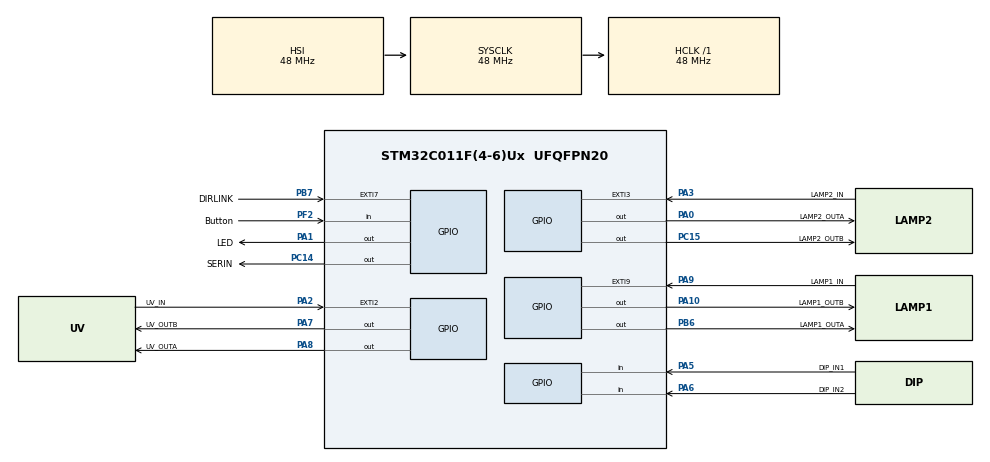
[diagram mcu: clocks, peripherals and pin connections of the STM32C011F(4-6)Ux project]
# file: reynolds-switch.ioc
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Mcu.Family=STM32C0
Mcu.Name=STM32C011F(4-6)Ux
Mcu.Package=UFQFPN20
NVIC.EXTI2_3_IRQn=true\:0\:0\:false\:false\:true\:true\:true\:true
NVIC.EXTI4_15_IRQn=true\:0\:0\:false\:false\:true\:true\:true\:true
NVIC.TIM14_IRQn=true\:0\:0\:false\:false\:true\:true\:true\:true
NVIC.TIM16_IRQn=true\:0\:0\:false\:false\:true\:true\:true\:true
NVIC.TIM17_IRQn=true\:0\:0\:false\:false\:true\:true\:true\:true
NVIC.TIM1_BRK_UP_TRG_COM_IRQn=true\:0\:0\:false\:false\:true\:true\:true\:true
NVIC.TIM1_CC_IRQn=true\:0\:0\:false\:false\:true\:true\:true\:true
PA0.GPIO_Label=LAMP2_OUTA
PA0.Signal=GPIO_Output
PA1.GPIO_Label=LED
PA1.Signal=GPIO_Output
PA10\ [PA12].GPIO_Label=LAMP1_OUTB
PA10\ [PA12].Signal=GPIO_Output
PA13.Mode=Serial_Wire
PA13.Signal=DEBUG_SWDIO
PA14-BOOT0.Mode=Serial_Wire
PA14-BOOT0.Signal=DEBUG_SWCLK
PA2.GPIO_Label=UV_IN
PA2.GPIO_ModeDefaultEXTI=GPIO_MODE_IT_FALLING
PA2.Signal=GPXTI2
PA3.GPIO_Label=LAMP2_IN
PA3.GPIO_ModeDefaultEXTI=GPIO_MODE_IT_RISING_FALLING
PA3.Signal=GPXTI3
PA5.GPIO_Label=DIP_IN1
PA5.Signal=GPIO_Input
PA6.GPIO_Label=DIP_IN2
PA6.Signal=GPIO_Input
PA7.GPIO_Label=UV_OUTB
PA7.Signal=GPIO_Output
PA8.GPIO_Label=UV_OUTA
PA8.Signal=GPIO_Output
PA9\ [PA11].GPIO_Label=LAMP1_IN
PA9\ [PA11].GPIO_ModeDefaultEXTI=GPIO_MODE_IT_RISING_FALLING
PA9\ [PA11].Signal=GPXTI9
PB6.GPIO_Label=LAMP1_OUTA
PB6.Signal=GPIO_Output
PB7.GPIO_Label=DIRLINK
PB7.Signal=GPXTI7
PC14-OSCX_IN\ (PC14).GPIO_FMPC14=SYSCFG_FASTMODEPLUS_PC14
PC14-OSCX_IN\ (PC14).GPIO_Label=SERIN
PC14-OSCX_IN\ (PC14).GPIO_PuPd=GPIO_NOPULL
PC14-OSCX_IN\ (PC14).Signal=GPIO_Output
PC15-OSCX_OUT\ (PC15).GPIO_Label=LAMP2_OUTB
PC15-OSCX_OUT\ (PC15).Signal=GPIO_Output
PF2-NRST.GPIO_Label=Button
PF2-NRST.Signal=GPIO_Input
ProjectManager.HeapSize=0x200
ProjectManager.StackSize=0x400
ProjectManager.TargetToolchain=STM32CubeIDE
RCC.ADCFreq_Value=48000000
RCC.AHBFreq_Value=48000000
RCC.CortexFreq_Value=48000000
RCC.EXTERNAL_CLOCK_VALUE=12288000
RCC.HCLKFreq_Value=48000000
RCC.HSE_VALUE=8000000
RCC.HSISYSCLKDivider=RCC_HSI_DIV1
RCC.HSI_VALUE=48000000
RCC.LSE_VALUE=32768
RCC.SYSCLKFreq_VALUE=48000000
TIM1.Period=1000
TIM1.Prescaler=48-1
TIM1.TIM_MasterOutputTrigger=TIM_TRGO_OC1REF
TIM14.Period=145
TIM14.Prescaler=48-1
TIM16.Period=1000
TIM16.Prescaler=48-1
TIM17.Period=130
TIM17.Prescaler=48-1
TIM3.Channel-Output\ Compare1\ No\ Output=TIM_CHANNEL_1
TIM3.Prescaler=47
TIM3.Pulse-Output\ Compare1\ No\ Output=130
VP_SYS_VS_PINREMAP.Mode=PINREMAP
VP_SYS_VS_PINREMAP_10_12.Mode=PINREMAP_10_12
VP_TIM14_VS_ClockSourceINT.Mode=Enable_Timer
VP_TIM16_VS_ClockSourceINT.Mode=Enable_Timer
VP_TIM17_VS_ClockSourceINT.Mode=Enable_Timer
VP_TIM1_VS_ClockSourceINT.Mode=Internal
VP_TIM3_VS_ClockSourceITR.Mode=TriggerSource_ITR1
VP_TIM3_VS_OPM.Mode=OPM_bit
VP_TIM3_VS_no_output1.Mode=Output Compare1 No Output
board=STM32C0116-DK

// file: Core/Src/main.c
/* USER CODE BEGIN Header */
/**
  ******************************************************************************
  * @file           : main.c
  * @brief          : Main program body
  ******************************************************************************
  * @attention
  *
  * Copyright (c) 2024 STMicroelectronics.
  * All rights reserved.
  *
  * This software is licensed under terms that can be found in the LICENSE file
  * in the root directory of this software component.
  * If no LICENSE file comes with this software, it is provided AS-IS.
  *
  ******************************************************************************
  */
/* USER CODE END Header */
#include "main.h"
#include "tim.h"
#include "gpio.h"

/* USER CODE BEGIN Includes */
#include <stdint.h>

#define DEBUG_REYNOLDS

//#define LIGHT_AS_ACTUATOR
//#define DEBUG_UART_REYNOLDS

#ifdef DEBUG_UART_REYNOLDS
#include <stdio.h>
#endif //DEBUG_UART_REYNOLDS

#include "BoardSupport/pyd15X8.h"
#include "BoardSupport/button.h"
#include "BoardSupport/lights.h"
#include "BoardSupport/led_indicator.h"
#include "BoardSupport/switch_selector.h"
#include "BoardSupport/relay_l114fl_drv8210.h"

#include "Middleware/deadline_timer.h"
#include "Middleware/output_ctrl.h"
#include "Middleware/NuTone.h"

#include "Application/nutone_app.h"

#include "Application/motion_lights_driver.h"
#include "app.h"

/* USER CODE END Includes */

/* USER CODE BEGIN PM */

//CONFIGURE THE BASIC MOTION PARAMETERS HERE:<---------------------------------------------------------------------------|

//#define TEST_TIMEOUT

/******************************************************************************/
/******************************************************************************/
/***************************CONFIG SECTION 1***********************************/
/******************************************************************************/
/******************************************************************************/
#define DEBUG_MEMORY//<<----This is inverted, if you want to enable all the modes available UNCOMMENT THIS (LOGIC NAME IS WRONG)

#define PRODUCTION_PARAM //<<---------Comment for fast tests

#ifndef PRODUCTION_PARAM//Time parameters for the app
#define 	FAST_TEST
#endif //FAST_TEST

//You can only activate one sensitivity level
#define MOTION_SENSITIVITY_MEDIUM

#ifndef MOTION_SENSITIVITY_MEDIUM
#define MOTION_SENSITIVITY_LOW
#ifndef 	MOTION_SENSITIVITY_LOW
#define MOTION_SENSITIVITY_HIGH
#endif 		//MOTION_SENSITIVITY_LOW
#endif //MOTION_SENSITIVITY_MEDIUM

#define MINUTES_2_MILI_SECONDS	60000
#define HOURS_2_MILI_SECONDS	60 * MINUTES_2_MILI_SECONDS

#ifdef PRODUCTION_PARAM
//Office Mode:
//-------------------------------------------------
#ifdef MOTION_SENSITIVITY_LOW
#define OFFICE_MOTION_SENSOR_DETECTION_THRESHOLD		4		//!< Range 0-255 (0 more sensitive -255 less sensitive)
const pyd1598_pulse_counter_t OFFICE_MOTION_PULSE_COUNTER = PYD1598_PC_3_PULSES;
const pyd1598_window_time_t OFFICE_MOTION_SENSOR_WINDOW = PYD1598_WT_8_SEC;
#endif	//MOTION_SENSITIVITY_LOW

#ifdef MOTION_SENSITIVITY_MEDIUM
#define OFFICE_MOTION_SENSOR_DETECTION_THRESHOLD		7		//!< Range 0-255 (0 more sensitive -255 less sensitive)
const pyd1598_pulse_counter_t OFFICE_MOTION_PULSE_COUNTER = PYD1598_PC_2_PULSES;
const pyd1598_window_time_t OFFICE_MOTION_SENSOR_WINDOW = PYD1598_WT_6_SEC;
#endif	//MOTION_SENSITIVITY_MEDIUM

#ifdef MOTION_SENSITIVITY_HIGH
#define OFFICE_MOTION_SENSOR_DETECTION_THRESHOLD		3		//!< Range 0-255 (0 more sensitive -255 less sensitive)
const pyd1598_pulse_counter_t OFFICE_MOTION_PULSE_COUNTER = PYD1598_PC_3_PULSES;
const pyd1598_window_time_t OFFICE_MOTION_SENSOR_WINDOW = PYD1598_WT_4_SEC;
#endif	//MOTION_SENSITIVITY_HIGH

#define OFFICE_LAMP1_ON_TIME_MS				10 * MINUTES_2_MILI_SECONDS	//!<Waiting period of Lamp 1 illumination in milisec
#define OFFICE_LAMP2_ON_TIME_MS				10 * MINUTES_2_MILI_SECONDS 	//!<Waiting period of Lamp 2 illumination in milisec
#define OFFICE_LAMP_UV_SAFETY_TIME_MS		900 	//!<Waiting period before turning on UV light in milisec
#define OFFICE_LAMP_UV_ON_TIME_MS			20 * MINUTES_2_MILI_SECONDS	//!<Waiting period of Lamp UV illumination in milisec
#ifdef TEST_TIMEOUT
#define OFFICE_LAMP_UV_TIMEOUT_MS			30000
#else	//TEST_TIMEOUT
#define OFFICE_LAMP_UV_TIMEOUT_MS			10000						//!<Waiting period for timeout. If motion is detected and UV button had been pressed finishes process automatically.
#endif	//TEST_TIMEOUT

//Residential mode:
//-------------------------------------------------
#ifdef MOTION_SENSITIVITY_LOW
#define RESIDENTIAL_MOTION_SENSOR_DETECTION_THRESHOLD	4		//!< Range 0-255 (0 more sensitive -255 less sensitive)
const pyd1598_pulse_counter_t OFFICE_MOTION_PULSE_COUNTER = PYD1598_PC_3_PULSES;
const pyd1598_window_time_t RESIDENTIAL_MOTION_SENSOR_WINDOW = PYD1598_WT_8_SEC;
#endif	//MOTION_SENSITIVITY_LOW

#ifdef MOTION_SENSITIVITY_MEDIUM
#define RESIDENTIAL_MOTION_SENSOR_DETECTION_THRESHOLD	7		//!< Range 0-255 (0 more sensitive -255 less sensitive)
const pyd1598_pulse_counter_t RESIDENTIAL_MOTION_PULSE_COUNTER = PYD1598_PC_2_PULSES;
const pyd1598_window_time_t RESIDENTIAL_MOTION_SENSOR_WINDOW = PYD1598_WT_6_SEC;
#endif	//MOTION_SENSITIVITY_MEDIUM

#ifdef MOTION_SENSITIVITY_HIGH
#define RESIDENTIAL_MOTION_SENSOR_DETECTION_THRESHOLD	3		//!< Range 0-255 (0 more sensitive -255 less sensitive)
const pyd1598_pulse_counter_t OFFICE_MOTION_PULSE_COUNTER = PYD1598_PC_3_PULSES;
const pyd1598_window_time_t RESIDENTIAL_MOTION_SENSOR_WINDOW = PYD1598_WT_4_SEC;
#endif	//MOTION_SENSITIVITY_HIGH

#define RESIDENTIAL_LAMP1_ON_TIME_MS		10 * MINUTES_2_MILI_SECONDS 	//!<Waiting period of Lamp 1 illumination in milisec
#define RESIDENTIAL_LAMP2_ON_TIME_MS		0							//!<Waiting period of Lamp 2 illumination in milisec
#define RESIDENTIAL_LAMP_UV_SAFETY_TIME_MS	900 	//!<Waiting period before turning on UV light in milisec
#define RESIDENTIAL_LAMP_UV_ON_TIME_MS		3 * HOURS_2_MILI_SECONDS 	//!<Waiting period of Lamp UV illumination in milisec
#ifdef TEST_TIMEOUT
#define RESIDENTIAL_LAMP_UV_TIMEOUT_MS		30000
#else	//TEST_TIMEOUT
#define RESIDENTIAL_LAMP_UV_TIMEOUT_MS		10000						//!<Waiting period for timeout. If motion is detected and UV button had been pressed finishes process automatically.
#endif	//TEST_TIMEOUT

//Broan NuTone SurfaceShield mode:
//-------------------------------------------------
#ifdef MOTION_SENSITIVITY_LOW
#define SURFACESHIELD_MOTION_SENSOR_DETECTION_THRESHOLD	4		//!< Range 0-255 (0 more sensitive -255 less sensitive)
const pyd1598_pulse_counter_t OFFICE_MOTION_PULSE_COUNTER = PYD1598_PC_3_PULSES;
const pyd1598_window_time_t SURFACESHIELD_MOTION_SENSOR_WINDOW = PYD1598_WT_8_SEC;
#endif	//MOTION_SENSITIVITY_LOW

#ifdef MOTION_SENSITIVITY_MEDIUM
#define SURFACESHIELD_MOTION_SENSOR_DETECTION_THRESHOLD	7		//!< Range 0-255 (0 more sensitive -255 less sensitive)
const pyd1598_pulse_counter_t SURFACESHIELD_MOTION_PULSE_COUNTER = PYD1598_PC_2_PULSES;
const pyd1598_window_time_t SURFACESHIELD_MOTION_SENSOR_WINDOW = PYD1598_WT_6_SEC;
#endif	//MOTION_SENSITIVITY_MEDIUM

#ifdef MOTION_SENSITIVITY_HIGH
#define SURFACESHIELD_MOTION_SENSOR_DETECTION_THRESHOLD	3		//!< Range 0-255 (0 more sensitive -255 less sensitive)
const pyd1598_pulse_counter_t OFFICE_MOTION_PULSE_COUNTER = PYD1598_PC_3_PULSES;
const pyd1598_window_time_t SURFACESHIELD_MOTION_SENSOR_WINDOW = PYD1598_WT_4_SEC;
#endif	//MOTION_SENSITIVITY_HIGH

#define SURFACESHIELD_LAMP1_ON_TIME_MS		10 * MINUTES_2_MILI_SECONDS 	//!<Waiting period of Lamp 1 illumination in milisec
#define SURFACESHIELD_LAMP2_ON_TIME_MS		0							//!<Waiting period of Lamp 2 illumination in milisec
#define SURFACESHIELD_LAMP_UV_SAFETY_TIME_MS	900 	//!<Waiting period before turning on UV light in milisec
#define SURFACESHIELD_LAMP_UV_ON_TIME_MS		3 * HOURS_2_MILI_SECONDS 	//!<Waiting period of Lamp UV illumination in milisec

#define SURFACESHIELD_LAMP_UV_TIMEOUT_MS		10000	//!<Waiting period for timeout. If motion is detected and UV button had been pressed finishes process automatically.

#endif //FAST_TEST

#ifdef FAST_TEST

//Office Mode:
#define OFFICE_MOTION_SENSOR_DETECTION_THRESHOLD		20		//!< Range 0-255 (0 more sensitive -255 less sensitive)
const pyd1598_pulse_counter_t OFFICE_MOTION_PULSE_COUNTER = PYD1598_PC_3_PULSES;
const pyd1598_window_time_t OFFICE_MOTION_SENSOR_WINDOW = PYD1598_WT_2_SEC;

#define OFFICE_LAMP1_ON_TIME_MS				1 * MINUTES_2_MILI_SECONDS	//!<Waiting period of Lamp 1 illumination in milisec
#define OFFICE_LAMP2_ON_TIME_MS				1 * MINUTES_2_MILI_SECONDS 	//!<Waiting period of Lamp 2 illumination in milisec
#define OFFICE_LAMP_UV_SAFETY_TIME_MS		900 	//!<Waiting period before turning on UV light in milisec
#define OFFICE_LAMP_UV_ON_TIME_MS			2 * MINUTES_2_MILI_SECONDS	//!<Waiting period of Lamp UV illumination in milisec
#ifdef TEST_TIMEOUT
#define OFFICE_LAMP_UV_TIMEOUT_MS			30000
#else	//TEST_TIMEOUT
#define OFFICE_LAMP_UV_TIMEOUT_MS			10000						//!<Waiting period for timeout. If motion is detected and UV button had been pressed finishes process automatically.
#endif	//TEST_TIMEOUT

//Residential mode:
#define RESIDENTIAL_MOTION_SENSOR_DETECTION_THRESHOLD	20		//!< Range 0-255 (0 more sensitive -255 less sensitive)
const pyd1598_pulse_counter_t OFFICE_MOTION_PULSE_COUNTER = PYD1598_PC_3_PULSES;
const pyd1598_window_time_t RESIDENTIAL_MOTION_SENSOR_WINDOW = PYD1598_WT_8_SEC;

#define RESIDENTIAL_LAMP1_ON_TIME_MS		10000//1 * MINUTES_2_MILI_SECONDS 	//!<Waiting period of Lamp 1 illumination in milisec
#define RESIDENTIAL_LAMP2_ON_TIME_MS		0							//!<Waiting period of Lamp 2 illumination in milisec
#define RESIDENTIAL_LAMP_UV_SAFETY_TIME_MS	900 	//!<Waiting period before turning on UV light in milisec
#define RESIDENTIAL_LAMP_UV_ON_TIME_MS		10000//3 * MINUTES_2_MILI_SECONDS 	//!<Waiting period of Lamp UV illumination in milisec
#ifdef TEST_TIMEOUT
#define RESIDENTIAL_LAMP_UV_TIMEOUT_MS		30000
#else	//TEST_TIMEOUT
#define RESIDENTIAL_LAMP_UV_TIMEOUT_MS		5000						//!<Waiting period for timeout. If motion is detected and UV button had been pressed finishes process automatically.
#endif	//TEST_TIMEOUT

//Broan NuTone SurfaceShield mode:
//-------------------------------------------------
#define SURFACESHIELD_MOTION_SENSOR_DETECTION_THRESHOLD	20		//!< Range 0-255 (0 more sensitive -255 less sensitive)
const pyd1598_pulse_counter_t OFFICE_MOTION_PULSE_COUNTER = PYD1598_PC_3_PULSES;
const pyd1598_window_time_t SURFACESHIELD_MOTION_SENSOR_WINDOW = PYD1598_WT_8_SEC;

#define SURFACESHIELD_LAMP1_ON_TIME_MS		10000 	//!<Waiting period of Lamp 1 illumination in milisec
#define SURFACESHIELD_LAMP2_ON_TIME_MS		0							//!<Waiting period of Lamp 2 illumination in milisec
#define SURFACESHIELD_LAMP_UV_SAFETY_TIME_MS	900 	//!<Waiting period before turning on UV light in milisec
#define SURFACESHIELD_LAMP_UV_ON_TIME_MS		10000 	//!<Waiting period of Lamp UV illumination in milisec
#define SURFACESHIELD_LAMP_UV_TIMEOUT_MS		5000						//!<Waiting period for timeout. If motion is detected and UV button had been pressed finishes process automatically.

#endif //FAST_TEST

/******************************************************************************/
/******************************************************************************/
/***************************CONFIG SECTION ENDS********************************/
/******************************************************************************/
/******************************************************************************/

/* USER CODE END PM */

/* USER CODE BEGIN PV */
extern TIM_HandleTypeDef htim1;
extern TIM_HandleTypeDef htim14;
extern TIM_HandleTypeDef htim17;

#ifdef DEBUG_UART_REYNOLDS
extern UART_HandleTypeDef huart1;
extern UART_HandleTypeDef huart2;
#endif //DEBUG_UART_REYNOLDS

#ifdef DEBUG_REYNOLDS
uint8_t myflag = 0;
#endif //DEBUG_REYNOLDS

/* USER CODE END PV */

void SystemClock_Config(void);
/* USER CODE BEGIN PFP */
/******************************************************************************/

#ifdef DEBUG_UART_REYNOLDS
//Adding printf
#define PUTCHAR_PROTOTYPE int __io_putchar(int ch)
#endif //DEBUG_UART_REYNOLDS

/****************************PYD 1598 routines*********************************/

//App routines:
void motion_light_control_fsm(relay_t *light,
								button_t *button,
								pyd1598_sensor_t *motion_sensor,
								deadline_timer_t *deadline_timer,
								motion_light_state_t *fsm_state,
								motion_sensed_t *motion_sensed);
void motion_light_uv_control_fsm(relay_t *light_uv,
									button_t *button_uv,
									pyd1598_sensor_t *motion_sensor,
									deadline_timer_t *deadline_timer,
									deadline_timer_t *deadline_safe_timer,
									motion_light_uv_state_t *fsm_state,
									motion_sensed_t *motion_sensed,
									motion_light_uv_abort_t *uv_abort,
									led_signal_t *signal);
void motion_uv_ctrl_wait_fsm(relay_t *light_uv,
								button_t *button_uv,
								pyd1598_sensor_t *motion_sensor,
								deadline_timer_t *deadline_timer,
								deadline_timer_t *deadline_safe_timer,
								deadline_timer_t *deadline_timeout,
								deadline_timer_t *deadline_wait_timeout,
								motion_light_uv_state_t *fsm_state,
								motion_sensed_t *motion_sensed,
								motion_light_uv_abort_t *uv_abort,
								motion_uv_wait_signal_t wait,
								led_signal_t *signal);

void direct_light_control_fsm(relay_t *light,
								button_t *button,
								deadline_timer_t *deadline_timer,
								motion_light_no_motion_state_t *fsm_state);

void events_detection(pyd1598_sensor_t *motion,
							deadline_timer_t *deadline_events,
							button_t *button_lamp_1, button_t *button_lamp_2,
							button_t *button_lamp_uv,
							motion_sensed_t *motion_light_1,
							motion_sensed_t *motion_light_2,
							motion_sensed_t *motion_uv,
							motion_light_uv_abort_t *abort_signal_uv);

void events_detection_motion_in_one_lamp(pyd1598_sensor_t *motion,
							deadline_timer_t *deadline_events,
							button_t *button_lamp_1,
							button_t *button_lamp_2,
							button_t *button_lamp_uv,
							motion_sensed_t *motion_light_1,
							motion_sensed_t *motion_uv,
							motion_light_uv_abort_t *abort_signal_uv);

void events_detection_uv_waits(pyd1598_sensor_t *motion,
							deadline_timer_t *deadline_events,
							button_t *button_lamp_1, button_t *button_lamp_2,
							button_t *button_lamp_uv,
							motion_sensed_t *motion_light_1,
							motion_sensed_t *motion_light_2,
							motion_sensed_t *motion_uv,
							motion_light_uv_abort_t *abort_signal_uv);

void discreate_actuator(light_t *actuator, deadline_timer_t *deadline_timer);

void sense_button_event(deadline_timer_t *deadline_events, button_t *button);

/******************************************************************************/
/* USER CODE END PFP */

/* USER CODE BEGIN 0 */
/******************************************************************************/

#ifdef DEBUG_REYNOLDS

#endif //DEBUG_REYNOLDS

//TODO: (low) Change to main process
//Testing upper layer:

//Motion Sensor declarations
pyd1598_sensor_t motion_sensor;
pyd1598_config_t motion_initial_conf;

//General Clock
timer_clock_t deadline;

//Lights declarations
deadline_timer_t deadline_timer_light_1;
deadline_timer_t deadline_timer_light_2;
deadline_timer_t deadline_timer_uv;

//General Clock
timer_clock_t general_clock;

//Buttons declarations
deadline_timer_t deadline_buttons;
timer_clock_t timer_buttons;//Change this to main
button_t button_light_1;
button_t button_light_2;
button_t button_uv;

motion_sensed_t motion_sensed_light_1;
motion_sensed_t motion_sensed_light_2;
motion_sensed_t motion_sensed_uv;

//LED indicator
deadline_timer_t deadline_led_indicator;//TODO: (High) deprecate this variable

//Application declarations
deadline_timer_t deadline_motion_light_1;
timer_clock_t timer_motion_light_1;//Change this to main
motion_light_state_t light_1_state;//Change this to main

deadline_timer_t deadline_motion_light_2;
timer_clock_t timer_motion_light_2;//Change this to main
motion_light_state_t light_2_state;//Change this to main
motion_light_no_motion_state_t light_2_no_motion_state;//Change this to main

//UV motion timers
deadline_timer_t deadline_motion_uv;
timer_clock_t timer_motion_uv;//Change this to main

deadline_timer_t deadline_motion_uv_safe;
timer_clock_t timer_motion_uv_safe;//Change this to main

deadline_timer_t deadline_motion_uv_timeout;//Change this to main
timer_clock_t timer_motion_uv_timeout;

deadline_timer_t deadline_uv_wait_timeout;//Change this to main
timer_clock_t timer_uv_wait_timeout;

motion_light_uv_state_t uv_state;//Change this to main

motion_light_uv_abort_t abort_uv = MOTION_ABORT_FALSE;
motion_uv_wait_signal_t wait = MOTION_UV_WAIT_FALSE;

//NuTone timers
deadline_timer_t ctrl_timer;
deadline_timer_t vyv_timeoff;
nutone_app_t nutone_app_hand;

/******************************************************************************/
/* USER CODE END 0 */

int main(void)
{

  /* MCU Configuration--------------------------------------------------------*/

  /* Reset of all peripherals, Initializes the Flash interface and the Systick. */
  HAL_Init();

  /* Configure the system clock */
  SystemClock_Config();

  /* Initialize all configured peripherals */
  MX_GPIO_Init();
  MX_TIM1_Init();
  MX_TIM14_Init();
  MX_TIM3_Init();
  MX_TIM17_Init();
  MX_TIM16_Init();
  /* USER CODE BEGIN 2 */
  /**************************************************************************/
  general_clock.counts = 0;
  general_clock.msec = 0;

  //Configure PYD 159:
//  HAL_DIRECT_LINK_conf_as_interrupt_input();

  //DIP SWITCH SETUP
  //----------------------------------------------------------------------------
  switch_selector_t switch_selector;
  switch_selector_gpio_t switch_selector_gpio[2];//We can use malloc also
  switch_selector_gpio[0].port = DIP_IN1_GPIO_Port;
  switch_selector_gpio[0].pin = DIP_IN1_Pin;
  switch_selector_gpio[1].port = DIP_IN2_GPIO_Port;
  switch_selector_gpio[1].pin = DIP_IN2_Pin;

  switch_selector_setup(&switch_selector, switch_selector_gpio, 2);

  //MOTION SENSOR SETUP
  //----------------------------------------------------------------------------

  switch(switch_selector.value)
  {
#ifdef DEBUG_MEMORY
	case MOTION_SWITCH_MODE_0:
		motion_initial_conf.threshold = OFFICE_MOTION_SENSOR_DETECTION_THRESHOLD;
		motion_initial_conf.window_time = OFFICE_MOTION_SENSOR_WINDOW;
		motion_initial_conf.pulse_counter = OFFICE_MOTION_PULSE_COUNTER;

	  break;
	case MOTION_SWITCH_MODE_1:
		motion_initial_conf.threshold = RESIDENTIAL_MOTION_SENSOR_DETECTION_THRESHOLD;
		motion_initial_conf.window_time = RESIDENTIAL_MOTION_SENSOR_WINDOW;;
		motion_initial_conf.pulse_counter = RESIDENTIAL_MOTION_PULSE_COUNTER;
	  break;
	case MOTION_SWITCH_MODE_2:
		motion_initial_conf.threshold = RESIDENTIAL_MOTION_SENSOR_DETECTION_THRESHOLD;
		motion_initial_conf.window_time = RESIDENTIAL_MOTION_SENSOR_WINDOW;;
		motion_initial_conf.pulse_counter = RESIDENTIAL_MOTION_PULSE_COUNTER;
		break;
#endif //DEBUG_MEMORY
	case MOTION_SWITCH_MODE_3:
		motion_initial_conf.threshold = SURFACESHIELD_MOTION_SENSOR_DETECTION_THRESHOLD;
		motion_initial_conf.window_time =SURFACESHIELD_MOTION_SENSOR_WINDOW;;
		motion_initial_conf.pulse_counter = SURFACESHIELD_MOTION_PULSE_COUNTER;
		break;
	default:
		//do nothing
		__NOP();
	  break;
  }

  //Good initial conf.
  motion_initial_conf.blind_time = PYD1598_BT_0_5_SEC;
  motion_initial_conf.count_mode = PYD1598_COUNT_MODE_NO_BPF_SIGN_CHANGE;
  motion_initial_conf.hpf_cutoff = PYD1598_HPF_0_2HZ;
  motion_initial_conf.op_mode = PYD1598_WAKE_UP;
  motion_initial_conf.signal_source = PYD1598_SOURCE_PIR_BFP;

  //Hardware assignation:
  pyd1598_hardware_interface_t setin_pin;
  pyd1598_hardware_interface_t direct_link_pin;

  setin_pin.pin = SERIN_Pin;
  setin_pin.port = SERIN_GPIO_Port;
  setin_pin.irq_type = EXTI4_15_IRQn;
  direct_link_pin.pin = DIRLINK_Pin;
  direct_link_pin.port = DIRLINK_GPIO_Port;
  direct_link_pin.irq_type = EXTI4_15_IRQn;

  pyd1598_setup(&motion_sensor, motion_initial_conf, setin_pin, direct_link_pin);

//  pyd1598_serin_set_zero_pulse(setin_pin);
  HAL_Delay(1000);

  pyd1598_request_write(&motion_sensor);

  //LIGHTS SETUP
  //----------------------------------------------------------------------------

  relay_t light_1;
  relay_t light_2;
  relay_t light_uv;

  deadline.msec = 80;
  deadline_timer_setup(&deadline_timer_light_1, deadline);
  deadline_timer_setup(&deadline_timer_light_2, deadline);
  deadline_timer_setup(&deadline_timer_uv, deadline);

  //Hardware assignation:

  relay_gpio_t light_1_output_a;
  relay_gpio_t light_1_output_b;
  relay_gpio_t light_2_output_a;
  relay_gpio_t light_2_output_b;
  relay_gpio_t light_uv_output_a;
  relay_gpio_t light_uv_output_b;

  light_1_output_a.pin = LAMP1_OUTA_Pin;
  light_2_output_a.pin = LAMP2_OUTA_Pin;
  light_uv_output_a.pin = UV_OUTA_Pin;
  light_1_output_b.pin = LAMP1_OUTB_Pin;
  light_2_output_b.pin = LAMP2_OUTB_Pin;
  light_uv_output_b.pin = UV_OUTB_Pin;

  light_1_output_a.port = LAMP1_OUTA_GPIO_Port;
  light_2_output_a.port = LAMP2_OUTA_GPIO_Port;
  light_uv_output_a.port = UV_OUTA_GPIO_Port;
  light_1_output_b.port = LAMP1_OUTB_GPIO_Port;
  light_2_output_b.port = LAMP2_OUTB_GPIO_Port;
  light_uv_output_b.port = UV_OUTB_GPIO_Port;

  relay_setup(&light_1, light_1_output_a, light_1_output_b);
  relay_setup(&light_2, light_2_output_a, light_2_output_b);
  relay_setup(&light_uv, light_uv_output_a, light_uv_output_b);

  //BUTTONS SETUP
  //----------------------------------------------------------------------------

  //timers config:
  timer_buttons.msec = 100;
  deadline_timer_setup(&deadline_buttons, timer_buttons);

  //Hardware assignation:
  button_gpio_t button_input;
  button_input.pin = LAMP1_IN_Pin;
  button_input.port = LAMP1_IN_GPIO_Port;
  button_setup(&button_light_1, button_input);

  button_input.pin = LAMP2_IN_Pin;
  button_input.port = LAMP2_IN_GPIO_Port;
  button_setup(&button_light_2, button_input);

  button_input.pin = UV_IN_Pin;
  button_input.port = UV_IN_GPIO_Port;
  button_setup(&button_uv, button_input);

  //SIGNAL LED SETUP
  //----------------------------------------------------------------------------
  led_signal_t signal_led;
  led_signal_gpio_t signal_led_gpio;
#ifdef DEBUG_MEMORY
  deadline_timer_expired_t indicator_timer_expired;
#endif //DEBUG_MEMORY
  signal_led_gpio.pin = LED_Pin;
  signal_led_gpio.port = LED_GPIO_Port;
  led_signal_setup(&signal_led, signal_led_gpio);
  deadline.msec = 500;
  deadline.sec = 0;

  deadline_timer_setup(&deadline_led_indicator, deadline);

  led_signal_type_selector(&signal_led, LED_SIGNAL_SOLID);

  //APPLICATION LIGHT SETUP
  //----------------------------------------------------------------------------
//TODO: (medium) create a typedef for all this

  /*
     * MOTION_SWITCH_MODE_0	=	OFFFICE
     * MOTION_SWITCH_MODE_1	=	RESIDENTIAL
     * MOTION_SWITCH_MODE_2	=
     * */
    //timers config:
    switch(switch_selector.value)
    {
#ifdef DEBUG_MEMORY
      case MOTION_SWITCH_MODE_0:
    	  timer_motion_light_1.msec = OFFICE_LAMP1_ON_TIME_MS;
    	  timer_motion_light_2.msec = OFFICE_LAMP2_ON_TIME_MS;
    	  timer_motion_uv_safe.msec = OFFICE_LAMP_UV_SAFETY_TIME_MS;
    	  timer_motion_uv.msec = OFFICE_LAMP_UV_ON_TIME_MS;
    	  timer_motion_uv_timeout.msec = OFFICE_LAMP_UV_TIMEOUT_MS;
    	  break;
      case MOTION_SWITCH_MODE_1:
    	  timer_motion_light_1.msec = RESIDENTIAL_LAMP1_ON_TIME_MS;
		  timer_motion_light_2.msec = RESIDENTIAL_LAMP2_ON_TIME_MS;
		  timer_motion_uv_safe.msec = RESIDENTIAL_LAMP_UV_SAFETY_TIME_MS;
		  timer_motion_uv.msec = RESIDENTIAL_LAMP_UV_ON_TIME_MS;
		  timer_motion_uv_timeout.msec = RESIDENTIAL_LAMP_UV_TIMEOUT_MS;
    	  break;
      case MOTION_SWITCH_MODE_2:
    	  timer_motion_light_1.msec = RESIDENTIAL_LAMP1_ON_TIME_MS;
		  timer_motion_light_2.msec = RESIDENTIAL_LAMP2_ON_TIME_MS;
		  timer_motion_uv_safe.msec = RESIDENTIAL_LAMP_UV_SAFETY_TIME_MS;
		  timer_motion_uv.msec = RESIDENTIAL_LAMP_UV_ON_TIME_MS;
		  timer_motion_uv_timeout.msec = RESIDENTIAL_LAMP_UV_TIMEOUT_MS;
    	  break;
#endif //DEBUG_MEMORY
      case MOTION_SWITCH_MODE_3:
    	  timer_motion_light_1.msec = SURFACESHIELD_LAMP1_ON_TIME_MS;
		  timer_motion_light_2.msec = SURFACESHIELD_LAMP2_ON_TIME_MS;
		  timer_motion_uv_safe.msec = SURFACESHIELD_LAMP_UV_SAFETY_TIME_MS;
		  timer_motion_uv.msec = SURFACESHIELD_LAMP_UV_ON_TIME_MS;
		  timer_motion_uv_timeout.msec = SURFACESHIELD_LAMP_UV_TIMEOUT_MS;
    	  __NOP();
    	  break;
      default:
    	  //do nothing
    	  __NOP();
    	  break;
    }

  //Light 1
  deadline_timer_setup(&deadline_motion_light_1, timer_motion_light_1);

  light_1_state = MOTION_LIGHT_IDLE;
  //Light 2
  deadline_timer_setup(&deadline_motion_light_2, timer_motion_light_1);
  light_2_state = MOTION_LIGHT_IDLE;
  //Light UV
  deadline_timer_setup(&deadline_motion_uv, timer_motion_uv);
  //Light safe UV
  deadline_timer_setup(&deadline_motion_uv_safe, timer_motion_uv_safe);
  //Light UV Timeout
  deadline_timer_setup(&deadline_motion_uv_timeout, timer_motion_uv_timeout);
  //Light UV Wait Timeout
  deadline.msec = 5000;
  deadline_timer_setup(&deadline_uv_wait_timeout, deadline);

  //MODE 2 Setup (NuTone)
  //----------------------------------------------------------------------------
  nutone_t exhaust_fan;
  //  nutone_app_t nutone_app_hand;
  button_handler_t button_fan;
  button_handler_t button_white;
  button_handler_t button_vyv;
  motion_handler_t motion_sensor_hand;
  led_signal_handler_t led_signal_hand;
  nutone_relay_handler_t lights;
  nutone_relay_handler_t fan;

  if(switch_selector.value == MOTION_SWITCH_MODE_3)
  {

	  lights.relay = &light_uv;
	  lights.deadline_timer = &deadline_timer_light_1;
	  fan.relay = &light_2;//This is not a UV relay but a simple relay
	  fan.deadline_timer = &deadline_timer_light_2;

	  nutone_setup(&exhaust_fan, &lights, &fan, &ctrl_timer, &vyv_timeoff);

	  button_white.button = &button_light_1;
	  button_white.btn_timer = &deadline_buttons;
	  button_fan.button = &button_light_2;
	  button_fan.btn_timer = &deadline_buttons;
	  button_vyv.button = &button_uv;
	  button_vyv.btn_timer = &deadline_buttons;
	  motion_sensor_hand.motion_sensor = &motion_sensor;

	  led_signal_hand.led_signal = &signal_led;
	  led_signal_hand.led_signal_timer = &deadline_led_indicator;

	  nutone_app_config(&nutone_app_hand, &exhaust_fan, &motion_sensor_hand,
			  	  	  	  	  &button_fan, &button_white, &button_vyv,
							  &led_signal_hand,
							  &deadline_motion_light_2,
							  &deadline_motion_light_1,
							  &deadline_motion_uv,
							  &deadline_motion_uv_timeout,
							  &deadline_motion_uv_safe);

	  //deenergize unused relay
	  relay_off(&light_1);
	  HAL_Delay(100);
	  relay_deenergize(&light_1);

	  //synchronization of SurfaceShield light to avoid inversion
	  led_signal_start(&signal_led);
	  signal_led.type = LED_SIGNAL_BLINK;

	  uint8_t idx = 0;
	  relay_off(lights.relay);
	  HAL_Delay(100);
	  relay_deenergize(lights.relay);
	  for(idx = 0; idx < 10; idx++)
	  {
		  HAL_Delay(1300);
		  led_signal_fsm(led_signal_hand.led_signal);
	  }
	  led_signal_stop(led_signal_hand.led_signal);

	  relay_ask_off_pulse_fsm(&light_1);

  }

  //Start Timers
  //----------------------------------------------------------------------------
	//Start interrupts:
	HAL_TIM_Base_Start_IT(&htim1);
	HAL_TIM_Base_Start_IT(&htim14);//SERIN communication timer
	HAL_TIM_Base_Start_IT(&htim16);//Used to generate a clock
	//Direct Link communication timer
	HAL_NVIC_SetPriority(TIM17_IRQn, 0, 0);
	HAL_NVIC_EnableIRQ(TIM17_IRQn);
	HAL_TIM_Base_Start_IT(&htim17);
	HAL_NVIC_SetPriority(EXTI4_15_IRQn, 0, 1);
	HAL_NVIC_EnableIRQ(EXTI4_15_IRQn);
	HAL_NVIC_SetPriority(EXTI2_3_IRQn, 3, 0);
	HAL_NVIC_EnableIRQ(EXTI2_3_IRQn);

  //Set initial states:
  //----------------------------------------------------------------------------
  relay_ask_off_pulse_fsm(&light_1);
  relay_ask_off_pulse_fsm(&light_2);
  relay_ask_off_pulse_fsm(&light_uv);

  uv_state = MOTION_LIGHT_UV_IDLE;
  abort_uv = MOTION_ABORT_FALSE;
  //Light timeout UV

  //motion switch
  motion_sensed_light_1 = MOTION_ISR_ATTENDED;
  motion_sensed_light_2 = MOTION_ISR_ATTENDED;
  motion_sensed_uv = MOTION_ISR_ATTENDED;

  led_signal_stop(&signal_led);

  /**************************************************************************/
  /* USER CODE END 2 */

  /* Infinite loop */
  while (1)
  {

    /* USER CODE BEGIN 3 */
	/**************************************************************************/

	  switch(switch_selector.value)
	  {
		  case MOTION_SWITCH_MODE_0:
#ifdef DEBUG_MEMORY
			  events_detection_uv_waits(&motion_sensor, &deadline_buttons,
								  &button_light_1, &button_light_2, &button_uv,
								  &motion_sensed_light_1, &motion_sensed_light_2,
								  &motion_sensed_uv,
								  &abort_uv);
			  motion_light_control_fsm(&light_1, &button_light_1, &motion_sensor,
									&deadline_motion_light_1, &light_1_state,
									&motion_sensed_light_1);
			  motion_light_control_fsm(&light_2, &button_light_2, &motion_sensor,
									&deadline_motion_light_2, &light_2_state,
									&motion_sensed_light_2);

			  if((light_1.relay_status == RELAY_ON) ||
				 (light_2.relay_status == RELAY_ON))
			  {
				  wait = MOTION_UV_WAIT_TRUE;
			  }
			  else
			  {
				  wait = MOTION_UV_WAIT_FALSE;
			  }

			  motion_uv_ctrl_wait_fsm(&light_uv, &button_uv, &motion_sensor,
								&deadline_motion_uv, &deadline_motion_uv_safe,
								&deadline_motion_uv_timeout,
								&deadline_uv_wait_timeout,
								&uv_state, &motion_sensed_uv, &abort_uv, wait,
								&signal_led);

			  //Actuator routines:
			  output_fsm_ctrl(&light_1, &deadline_timer_light_1);
			  output_fsm_ctrl(&light_2, &deadline_timer_light_2);
			  output_fsm_ctrl(&light_uv, &deadline_timer_uv);

			  //LED indicator
			  deadline_timer_check(&deadline_led_indicator, &indicator_timer_expired);

			  if(indicator_timer_expired == TIMER_EXPIRED_TRUE)
			  {
				  led_signal_fsm(&signal_led);
				  deadline_timer_set_initial_time(&deadline_led_indicator);
			  }
#endif //DEBUG_MEMORY

			  break;

		  case MOTION_SWITCH_MODE_1:
#ifdef DEBUG_MEMORY
			  events_detection_uv_waits(&motion_sensor, &deadline_buttons,
			  								  &button_light_1, &button_light_2, &button_uv,
			  								  &motion_sensed_light_1, &motion_sensed_light_2,
			  								  &motion_sensed_uv,
			  								  &abort_uv);

			  motion_light_control_fsm(&light_1, &button_light_1, &motion_sensor,
									&deadline_motion_light_1, &light_1_state,
									&motion_sensed_light_1);

			  direct_light_control_fsm(&light_2, &button_light_2,
												  &deadline_motion_light_2,
												  &light_2_no_motion_state);

			  if(light_1.relay_status == RELAY_ON)
			  {
				  wait = MOTION_UV_WAIT_TRUE;
			  }
			  else
			  {
				  wait = MOTION_UV_WAIT_FALSE;
			  }

			  motion_uv_ctrl_wait_fsm(&light_uv, &button_uv, &motion_sensor,
								&deadline_motion_uv, &deadline_motion_uv_safe,
								&deadline_motion_uv_timeout,
								&deadline_uv_wait_timeout,
								&uv_state, &motion_sensed_uv, &abort_uv, wait,
								&signal_led);

			  //Actuator routines:
			  output_fsm_ctrl(&light_1, &deadline_timer_light_1);
			  output_fsm_ctrl(&light_2, &deadline_timer_light_2);
			  output_fsm_ctrl(&light_uv, &deadline_timer_uv);

			  //LED indicator
			  deadline_timer_check(&deadline_led_indicator, &indicator_timer_expired);

			  if(indicator_timer_expired == TIMER_EXPIRED_TRUE)
			  {
				  led_signal_fsm(&signal_led);
				  deadline_timer_set_initial_time(&deadline_led_indicator);
			  }
#endif	//DEBUG_MEMORY

			  break;
		  case MOTION_SWITCH_MODE_2:
			  //do nothing
			  signal_led.type = LED_SIGNAL_BLINK;
			  signal_led.control = LED_SIGNAL_CTRL_START;
			  deadline_led_indicator.deadline.msec = 100;
			  //LED indicator

			  deadline_timer_check(&deadline_led_indicator, &indicator_timer_expired);

			  if(indicator_timer_expired == TIMER_EXPIRED_TRUE)
			  {
				  led_signal_fsm(&signal_led);
				  deadline_timer_set_initial_time(&deadline_led_indicator);
			  }

			  break;
		  case MOTION_SWITCH_MODE_3:
			  //SurfaceShield App
			  nutone_app_process(&nutone_app_hand);

			  break;
		  default:
			  //do nothing
			  __NOP();
			  break;
	  }

#ifdef DEBUG_REYNOLDS
//	  printf("Hello World %d \n\r", test);
//	  HAL_Delay(1000);
#endif //DEBUG_REYNOLDS

  }
  /**************************************************************************/
  /* USER CODE END 3 */
}

void SystemClock_Config(void)
{
  RCC_OscInitTypeDef RCC_OscInitStruct = {0};
  RCC_ClkInitTypeDef RCC_ClkInitStruct = {0};

  /** Initializes the RCC Oscillators according to the specified parameters
  * in the RCC_OscInitTypeDef structure.
  */
  RCC_OscInitStruct.OscillatorType = RCC_OSCILLATORTYPE_HSI;
  RCC_OscInitStruct.HSIState = RCC_HSI_ON;
  RCC_OscInitStruct.HSIDiv = RCC_HSI_DIV1;
  RCC_OscInitStruct.HSICalibrationValue = RCC_HSICALIBRATION_DEFAULT;
  if (HAL_RCC_OscConfig(&RCC_OscInitStruct) != HAL_OK)
  {
    Error_Handler();
  }

  /** Initializes the CPU, AHB and APB buses clocks
  */
  RCC_ClkInitStruct.ClockType = RCC_CLOCKTYPE_HCLK|RCC_CLOCKTYPE_SYSCLK
                              |RCC_CLOCKTYPE_PCLK1;
  RCC_ClkInitStruct.SYSCLKSource = RCC_SYSCLKSOURCE_HSI;
  RCC_ClkInitStruct.SYSCLKDivider = RCC_SYSCLK_DIV1;
  RCC_ClkInitStruct.AHBCLKDivider = RCC_HCLK_DIV1;
  RCC_ClkInitStruct.APB1CLKDivider = RCC_APB1_DIV1;

  if (HAL_RCC_ClockConfig(&RCC_ClkInitStruct, FLASH_LATENCY_1) != HAL_OK)
  {
    Error_Handler();
  }
}

/* USER CODE BEGIN 4 */
/******************************************************************************/
/******************************************************************************/
/******************************************************************************/

/***************************Application Functions******************************/

/*----------------------Motion sensor Application routines--------------------*/

//TODO: (medium) all the digital outputs behave light a light. Last requirement
//changes added other kind of actuators. Change the HAL layer and middleware
//layer to set a proper name

//#define TESTING_SENSOR

void events_detection_uv_waits(pyd1598_sensor_t *motion,
							deadline_timer_t *deadline_events,
							button_t *button_lamp_1, button_t *button_lamp_2,
							button_t *button_lamp_uv,
							motion_sensed_t *motion_light_1,
							motion_sensed_t *motion_light_2,
							motion_sensed_t *motion_uv,
							motion_light_uv_abort_t *abort_signal_uv)
{
	//variables to check motion events
	pyd1598_motion_isr_status_t motion_isr_status = PYD1598_MOTION_ISR_ATTENDED;

	//To check button states:
	button_isr_status_t button_isr_stat;
	button_edge_t check_edge;

	//Reading if there is a motion interrupt pending to solve
#ifndef TESTING_SENSOR
	pyd1598_read_wakeup_signal(motion, &motion_isr_status);
#endif //TESTING_SENSOR
	//Activating flags
	if(motion_isr_status == PYD1598_MOTION_ISR_UNATTENDED)
	{
		*motion_light_1 = MOTION_ISR_UNATTENDED;
		*motion_light_2 = MOTION_ISR_UNATTENDED;
		*motion_uv = MOTION_ISR_UNATTENDED;
		motion->motion_sensed = PYD1598_MOTION_ISR_ATTENDED;
	}

	//Reading Buttons
	sense_button_event(deadline_events, button_lamp_1);
	sense_button_event(deadline_events, button_lamp_2);
	sense_button_event(deadline_events, button_lamp_uv);

#ifdef ABORT_WITH_BUTTONS
	//Activating a switch while uv fsm is running turn off UV lamp
	button_check_isr_request(*button_lamp_1, &button_isr_stat, &check_edge);
	if(button_isr_stat == BUTTON_ISR_UNATTENDED)
	{
		*abort_signal_uv = MOTION_ABORT_TRUE;
	}

	button_check_isr_request(*button_lamp_2, &button_isr_stat, &check_edge);
	if(button_isr_stat == BUTTON_ISR_UNATTENDED)
	{
		*abort_signal_uv = MOTION_ABORT_TRUE;
	}
#endif //ABORT_WITH_BUTTONS

	//Since a push button does not maintain its state, memory is needed.
	button_check_isr_request(*button_lamp_uv, &button_isr_stat, &check_edge);
	if(button_isr_stat == BUTTON_ISR_UNATTENDED)
	{
		if(button_lamp_uv->push_status != BUTTON_PUSH_ON)
		{
			button_lamp_uv->push_status = BUTTON_PUSH_ON;
		}
		else
		{
			button_lamp_uv->push_status = BUTTON_PUSH_OFF;
		}
	}
}

void sense_button_event(deadline_timer_t *deadline_events, button_t *button)
{

	deadline_timer_expired_t timer_expired;
	if(button->debounce_lock == BUTTON_DEBOUNCE_LOCK_ON)
	{
		//TODO: (medium) Check if a new timer should be configured
		deadline_timer_check(deadline_events, &timer_expired);

		if(timer_expired == TIMER_EXPIRED_TRUE)
		{
			button_debounce_fsm(button);
			deadline_timer_set_initial_time(deadline_events);
		}
	}

}

void motion_light_control_fsm(relay_t *light,
								button_t *button,
								pyd1598_sensor_t *motion_sensor,
								deadline_timer_t *deadline_timer,
								motion_light_state_t *fsm_state,
								motion_sensed_t *motion_sensed)
{

	button_isr_status_t button_isr_status;
	button_edge_t edge = button->edge;

	button_check_isr_request(*button, &button_isr_status, &edge);

	if( (button_isr_status == BUTTON_ISR_UNATTENDED) ||
		(*motion_sensed == MOTION_ISR_UNATTENDED))
	{
		if(button_isr_status == BUTTON_ISR_UNATTENDED)
		{
			button_isr_status = PYD1598_WAKEUP_ISR_ATTENDED;

			if(edge == BUTTON_EDGE_NEGATIVE)
			{
				*fsm_state = MOTION_LIGHT_TURN_OFF_LIGHT;
			}
			else
			{
				*fsm_state = MOTION_LIGHT_CHECK_BUTTON;
			}
		}

		if( (*motion_sensed == MOTION_ISR_UNATTENDED) &&
			(*fsm_state == MOTION_LIGHT_IDLE))
		{
			*fsm_state = MOTION_LIGHT_CHECK_BUTTON;
			*motion_sensed = MOTION_ISR_ATTENDED;
		}

	}

	switch(*fsm_state)
	{
		case MOTION_LIGHT_IDLE:

			__NOP();//Do nothing

			break;
		case MOTION_LIGHT_CHECK_BUTTON:

			button_status_t button_status = BUTTON_OFF;
			button_get_status(button, &button_status);

			if(button_status == BUTTON_ON)
			{
				*fsm_state = MOTION_LIGHT_TURN_ON_LIGHT;
				*motion_sensed = MOTION_ISR_ATTENDED;
			}
			else
			{
				 //if an edge where detected an error occurred in the button
				*fsm_state = MOTION_LIGHT_TURN_OFF_LIGHT;
				*motion_sensed = MOTION_ISR_ATTENDED;
			}

			break;
		case MOTION_LIGHT_TURN_ON_LIGHT:

			//this is done in another fsm
			relay_ask_on_pulse_fsm(light);
			*fsm_state = MOTION_LIGHT_INIT_TIMER;

			break;
		case MOTION_LIGHT_INIT_TIMER:
			//This updates the timer count
			deadline_timer_set_initial_time(deadline_timer);
			*fsm_state = MOTION_LIGHT_WAIT_EXPIRATION;

			break;
		case MOTION_LIGHT_WAIT_EXPIRATION:

			deadline_timer_expired_t deadline_expired;

			deadline_timer_check(deadline_timer, &deadline_expired);

			if(deadline_expired == TIMER_EXPIRED_TRUE)
			{
				*fsm_state = MOTION_LIGHT_TURN_OFF_LIGHT;
			}
			else
			{
			}

			if(*motion_sensed == MOTION_ISR_UNATTENDED)
			{
				*motion_sensed = MOTION_ISR_ATTENDED;
				*fsm_state = MOTION_LIGHT_CHECK_BUTTON;
			}
			break;
		case MOTION_LIGHT_TURN_OFF_LIGHT:

			deadline_timer_force_expiration(deadline_timer);
			//this is done in another fsm
			relay_ask_off_pulse_fsm(light);
			*fsm_state = MOTION_LIGHT_IDLE;
			break;
		default:
			*fsm_state = MOTION_LIGHT_IDLE;
			break;
	}

	button->edge_attended = button_isr_status;

}

void motion_uv_ctrl_wait_fsm(relay_t *light_uv,
									button_t *button_uv,
									pyd1598_sensor_t *motion_sensor,
									deadline_timer_t *deadline_timer,
									deadline_timer_t *deadline_safe_timer,
									deadline_timer_t *deadline_timeout,
									deadline_timer_t *deadline_wait_timeout,
									motion_light_uv_state_t *fsm_state,
									motion_sensed_t *motion_sensed,
									motion_light_uv_abort_t *uv_abort,
									motion_uv_wait_signal_t wait,
									led_signal_t *signal)
{
	button_isr_status_t button_isr_status;
	button_edge_t edge = button_uv->edge;
	pyd1598_motion_isr_status_t motion_isr_status;
	deadline_timer_expired_t deadline_safe_expired;
	deadline_timer_expired_t deadline_timeout_expired;

	button_check_isr_request(*button_uv, &button_isr_status, &edge);
	pyd1598_check_isr_request(*motion_sensor, &motion_isr_status);

	if(button_isr_status == BUTTON_ISR_UNATTENDED)
	{

		//Change if abort is not required with a second push
		if(button_uv->push_status == BUTTON_PUSH_ON)
		{
			*fsm_state = MOTION_LIGHT_UV_INIT_TIMEOUT_TIMER;
		}
		else
		{
			*fsm_state = MOTION_LIGHT_UV_ABORT;
		}

		button_isr_status = PYD1598_WAKEUP_ISR_ATTENDED;
	}

	if(*uv_abort == MOTION_ABORT_TRUE)
	{
		*fsm_state = MOTION_LIGHT_UV_ABORT;
		*uv_abort = MOTION_ABORT_FALSE;
	}

	switch(*fsm_state)
	{
		case MOTION_LIGHT_UV_IDLE:

			__NOP();//Do nothing

			break;
		case MOTION_LIGHT_UV_INIT_TIMEOUT_TIMER:
			//Initialize deadline_timeout
			deadline_timer_set_initial_time(deadline_timeout);
			deadline_timer_set_initial_time(deadline_wait_timeout);

			//Start LED indicator
			led_signal_start(signal);
			signal->type = LED_SIGNAL_BLINK;

			*fsm_state = MOTION_LIGHT_UV_WAIT_MOTION_TIMEOUT;

			break;
#ifndef TEST_TIMEOUT
		case MOTION_LIGHT_UV_WAIT_MOTION_TIMEOUT:

			if(*motion_sensed == MOTION_ISR_UNATTENDED)
			{
				*motion_sensed = MOTION_ISR_ATTENDED;
			}

			deadline_timer_check(deadline_timeout, &deadline_timeout_expired);

			if(deadline_timeout_expired == TIMER_EXPIRED_TRUE)//This should be a long timer
			{
				*motion_sensed = MOTION_ISR_ATTENDED;
				*fsm_state = MOTION_LIGHT_UV_INIT_SAFE_TIMER;
				signal->type = LED_SIGNAL_SOLID;
			}

			break;
#endif //TEST_TIMEOUT

#ifdef TEST_TIMEOUT
		case MOTION_LIGHT_UV_WAIT_MOTION_TIMEOUT:

			deadline_timer_check(deadline_wait_timeout,
									&deadline_wait_timeout_expired);

			if(deadline_wait_timeout_expired == TIMER_EXPIRED_TRUE)
			{
				*fsm_state = MOTION_LIGHT_UV_CHECK_TIMEOUT_TIMER;
			}
			__NOP();//Do nothing

			break;
		case MOTION_LIGHT_UV_CHECK_TIMEOUT_TIMER:

			deadline_timer_check(deadline_timeout, &deadline_timeout_expired);

			if(deadline_timeout_expired == TIMER_EXPIRED_TRUE)//This should be a long timer
			{
				*fsm_state = MOTION_LIGHT_UV_ABORT;
			}
			else
			{
				if(*motion_sensed == MOTION_ISR_UNATTENDED)
				{
					deadline_timer_set_initial_time(deadline_wait_timeout);
					*motion_sensed = MOTION_ISR_ATTENDED;
					*fsm_state = MOTION_LIGHT_UV_WAIT_MOTION_TIMEOUT;
				}
				else
				{
					*fsm_state = MOTION_LIGHT_UV_INIT_SAFE_TIMER;
				}
			}

			break;
#endif //TEST_TIMEOUT

		case MOTION_LIGHT_UV_INIT_SAFE_TIMER:
			//TODO: (high) add a timeout
			deadline_timer_set_initial_time(deadline_safe_timer);

			*fsm_state = MOTION_LIGHT_UV_WAIT_SAFE_TIMER;
			break;

		case MOTION_LIGHT_UV_WAIT_SAFE_TIMER:

			deadline_timer_check(deadline_safe_timer, &deadline_safe_expired);

			if(deadline_safe_expired == TIMER_EXPIRED_TRUE)//This should be a long timer
			{
				*fsm_state = MOTION_LIGHT_UV_TURN_ON_LIGHT;
			}
			else
			{
				if(*motion_sensed == MOTION_ISR_UNATTENDED)
				{
					*motion_sensed = MOTION_ISR_ATTENDED;
					*fsm_state = MOTION_LIGHT_UV_ABORT;
				}
				else
				{
					if(wait == MOTION_UV_WAIT_TRUE)
					{
						*fsm_state = MOTION_LIGHT_UV_INIT_SAFE_TIMER;
					}
				}

			}

			break;
		case MOTION_LIGHT_UV_TURN_ON_LIGHT:
			//this is done in another fsm
			relay_ask_on_pulse_fsm(light_uv);
			*fsm_state = MOTION_LIGHT_UV_INIT_TIMER;

			break;
		case MOTION_LIGHT_UV_INIT_TIMER:
			deadline_timer_set_initial_time(deadline_timer);
			*fsm_state = MOTION_LIGHT_UV_WAIT_EXPIRATION;
			break;
		case MOTION_LIGHT_UV_WAIT_EXPIRATION:
			deadline_timer_expired_t deadline_expired;
			deadline_timer_check(deadline_timer, &deadline_expired);

			if(deadline_expired == TIMER_EXPIRED_TRUE)
			{
				*fsm_state = MOTION_LIGHT_UV_TURN_OFF_LIGHT;
			}
			else
			{
				//Do nothing
			}

			if(*motion_sensed == MOTION_ISR_UNATTENDED)
			{
				*motion_sensed = MOTION_ISR_ATTENDED;
				*fsm_state = MOTION_LIGHT_UV_ABORT;
			}

			break;
		case MOTION_LIGHT_UV_ABORT:

			*fsm_state = MOTION_LIGHT_UV_TURN_OFF_LIGHT;
			break;
		case MOTION_LIGHT_UV_TURN_OFF_LIGHT:
			//this is done in another fsm
			deadline_timer_force_expiration(deadline_timer);
			deadline_timer_force_expiration(deadline_timeout);
			deadline_timer_force_expiration(deadline_wait_timeout);
			button_uv->push_status = BUTTON_PUSH_OFF;

			//Send signal to turn off UV lamp
			relay_ask_off_pulse_fsm(light_uv);

			//Send signal stop LED indicator
			led_signal_stop(signal);

			*fsm_state = MOTION_LIGHT_UV_IDLE;
			break;
		default:
			*fsm_state = MOTION_LIGHT_UV_IDLE;
			break;
	}

	button_uv->edge_attended = button_isr_status;
}

void direct_light_control_fsm(relay_t *light,
								button_t *button,
								deadline_timer_t *deadline_timer,
								motion_light_no_motion_state_t *fsm_state)
{

	button_isr_status_t button_isr_status;
	button_edge_t edge = button->edge;
	button_status_t button_status = BUTTON_OFF;

	button_check_isr_request(*button, &button_isr_status, &edge);

	if( button_isr_status == BUTTON_ISR_UNATTENDED)
	{
		button_isr_status = PYD1598_WAKEUP_ISR_ATTENDED;

		if(edge == BUTTON_EDGE_NEGATIVE)
		{
			*fsm_state = NO_MOTION_LIGHT_TURN_OFF_LIGHT;
		}
		else
		{
			*fsm_state =  NO_MOTION_LIGHT_TURN_ON_LIGHT;
		}
	}

	switch(*fsm_state)
	{
		case NO_MOTION_LIGHT_IDLE:

			__NOP();//Do nothing

			break;
		case NO_MOTION_LIGHT_TURN_ON_LIGHT:

			//this is done in another fsm

			relay_ask_on_pulse_fsm(light);
			*fsm_state = NO_MOTION_LIGHT_CHECK_BUTTON;

			break;
		case NO_MOTION_LIGHT_CHECK_BUTTON:
			//This updates the timer count
			button_get_status(button, &button_status);

			//TODO: (low) This step is just to ensure things are done
			if(button_status == BUTTON_OFF)
			{
				*fsm_state = NO_MOTION_LIGHT_TURN_OFF_LIGHT;
			}

			break;
		case NO_MOTION_LIGHT_TURN_OFF_LIGHT:
			//this is done in another fsm
			relay_ask_off_pulse_fsm(light);
			*fsm_state = NO_MOTION_LIGHT_IDLE;
			break;
		default:
			*fsm_state = NO_MOTION_LIGHT_IDLE;
			break;
	}

	button->edge_attended = button_isr_status;

}

/**********************************ISR*****************************************/

// Callback: timer has rolled over
void HAL_TIM_PeriodElapsedCallback(TIM_HandleTypeDef *htim)
{

	if (htim == &htim17)
	{
		pyd1598_dl_readout_fsm(&motion_sensor.direct_link,
											motion_sensor.serin.config.op_mode);
	}
	if (htim == &htim14)
	{
		pyd1598_serin_send_datagram_fsm(&motion_sensor.serin,
								motion_sensor.direct_link.hardware_inteface);

	}

	if (htim == &htim1)
	{
//		increment_timer();
	}

	if (htim == &htim16)
	{

		//TODO: (low)can I change this to the infinite while loop in the main?
		deadline_timer_count(&deadline_timer_light_1);
		deadline_timer_count(&deadline_timer_light_2);
		deadline_timer_count(&deadline_timer_uv);
		deadline_timer_count(&deadline_buttons);
		//
		deadline_timer_count(&deadline_motion_light_1);
		deadline_timer_count(&deadline_motion_light_2);
		deadline_timer_count(&deadline_motion_uv);
		deadline_timer_count(&deadline_motion_uv_safe);

		deadline_timer_count(&deadline_led_indicator);

		deadline_timer_count(&deadline_motion_uv_timeout);
		deadline_timer_count(&deadline_uv_wait_timeout);

		deadline_timer_count(&ctrl_timer);
		deadline_timer_count(&vyv_timeoff);

		deadline_timer_increment(&general_clock);

	}

}

void HAL_GPIO_EXTI_Rising_Callback(uint16_t GPIO_Pin)
{

	if(GPIO_Pin == motion_sensor.direct_link.hardware_inteface.pin)
	{
		motion_sensor.direct_link.start_fsm = true;
		TIM17->CNT = 0;
	}
	else
	{
		__NOP();
	}

	if(GPIO_Pin == button_light_1.hardware_input.pin)
	{
		if(button_light_1.debounce_lock == BUTTON_DEBOUNCE_LOCK_OFF)
		{
			button_positive_edge_detected(&button_light_1);
			deadline_timer_set_initial_time(&deadline_buttons);//TODO: (medium) Check if a new timer should be configured
		}

	}
	if(GPIO_Pin == button_light_2.hardware_input.pin)
	{
		if(button_light_2.debounce_lock == BUTTON_DEBOUNCE_LOCK_OFF)
		{
			button_positive_edge_detected(&button_light_2);
			deadline_timer_set_initial_time(&deadline_buttons);//TODO: (medium) Check if a new timer should be configured
		}
	}
	if(GPIO_Pin == button_uv.hardware_input.pin)
	{
		if(button_uv.debounce_lock == BUTTON_DEBOUNCE_LOCK_OFF)
		{
			button_positive_edge_detected(&button_uv);
			deadline_timer_set_initial_time(&deadline_buttons);//TODO: (medium) Check if a new timer should be configured
		}
	}
}

void HAL_GPIO_EXTI_Falling_Callback(uint16_t GPIO_Pin)
{

	if(GPIO_Pin == button_light_1.hardware_input.pin)
	{
		if(button_light_1.debounce_lock == BUTTON_DEBOUNCE_LOCK_OFF)
		{
			button_negative_edge_detected(&button_light_1);
			deadline_timer_set_initial_time(&deadline_buttons);
		}
	}
	if(GPIO_Pin == button_light_2.hardware_input.pin)
	{
		if(button_light_2.debounce_lock == BUTTON_DEBOUNCE_LOCK_OFF)
		{
			button_negative_edge_detected(&button_light_2);
			deadline_timer_set_initial_time(&deadline_buttons);//TODO: (medium) Check if a new timer should be configured
		}
	}

	if(GPIO_Pin == button_uv.hardware_input.pin)
	{
		if(button_uv.debounce_lock == BUTTON_DEBOUNCE_LOCK_OFF)
		{
			button_negative_edge_detected(&button_uv);
			deadline_timer_set_initial_time(&deadline_buttons);//TODO: (medium) Check if a new timer should be configured
		}
	}
}

/****************************Timing routines***********************************/

#ifdef DEBUG_UART_REYNOLDS
/**
  * @brief  Retargets the C library printf function to the USART.
  * @PAram  None
  * @retval None
  */
PUTCHAR_PROTOTYPE
{
  /* Place your implementation of fputc here */
  /* e.g. write a character to the USART1 and Loop until the end of transmission */
  HAL_UART_Transmit(&huart2, (uint8_t *)&ch, 1, 0xFFFF);

  return ch;
}

#endif //DEBUG_UART_REYNOLDS
/*******************************************************************************
 *******************************************************************************
 *******************************************************************************
 ******************************************************************************/

/* USER CODE END 4 */

void Error_Handler(void)
{
  __disable_irq();
  while (1)
  {
  }
}
